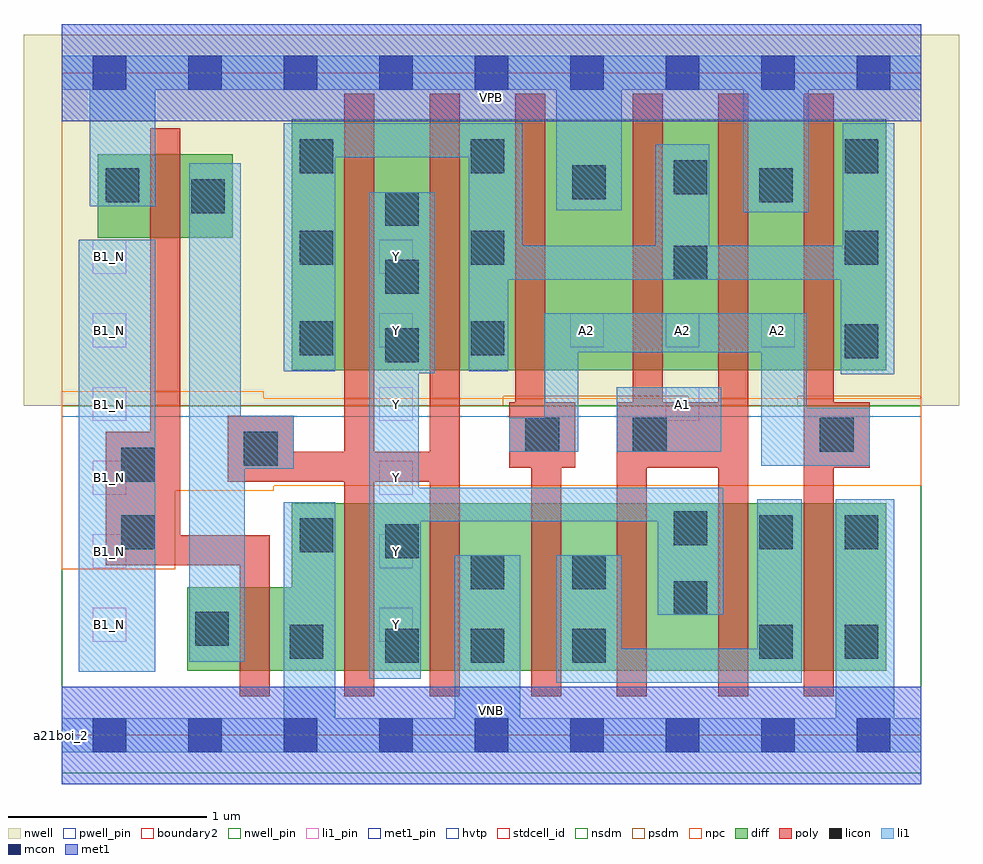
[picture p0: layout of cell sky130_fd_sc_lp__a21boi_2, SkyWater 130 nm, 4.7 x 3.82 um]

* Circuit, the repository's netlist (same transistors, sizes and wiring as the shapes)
* Copyright 2020 The SkyWater PDK Authors
*
* Licensed under the Apache License, Version 2.0 (the "License");
* you may not use this file except in compliance with the License.
* You may obtain a copy of the License at
*
*     https://www.apache.org/licenses/LICENSE-2.0
*
* Unless required by applicable law or agreed to in writing, software
* distributed under the License is distributed on an "AS IS" BASIS,
* WITHOUT WARRANTIES OR CONDITIONS OF ANY KIND, either express or implied.
* See the License for the specific language governing permissions and
* limitations under the License.
*
* SPDX-License-Identifier: Apache-2.0

.SUBCKT sky130_fd_sc_lp__a21boi_2 A1 A2 B1_N VGND VNB VPB VPWR Y
*.PININFO A1:I A2:I B1_N:I VGND:I VNB:I VPB:I VPWR:I Y:O
MMPA0 net28 A1 VPWR VPB sky130_fd_pr__pfet_01v8_hvt m=2 w=1.26U l=0.15U mult=1
+ sa=0.265 sb=0.265 sd=0.28 area=0.063 perim=1.14
MMPA1 net28 A2 VPWR VPB sky130_fd_pr__pfet_01v8_hvt m=2 w=1.26U l=0.15U mult=1
+ sa=0.265 sb=0.265 sd=0.28 area=0.063 perim=1.14
MMPB0 Y B1 net28 VPB sky130_fd_pr__pfet_01v8_hvt m=2 w=1.26U l=0.15U mult=1 sa=0.265
+ sb=0.265 sd=0.28 area=0.063 perim=1.14
MMIPB1N B1 B1_N VPWR VPB sky130_fd_pr__pfet_01v8_hvt m=1 w=0.42U l=0.15U mult=1
+ sa=0.265 sb=0.265 sd=0.28 area=0.063 perim=1.14
MMNA0 Y A1 sndA1 VNB sky130_fd_pr__nfet_01v8 m=2 w=0.84U l=0.15U mult=1 sa=0.265
+ sb=0.265 sd=0.28 area=0.063 perim=1.14
MMNA1 sndA1 A2 VGND VNB sky130_fd_pr__nfet_01v8 m=2 w=0.84U l=0.15U mult=1 sa=0.265
+ sb=0.265 sd=0.28 area=0.063 perim=1.14
MMNB0 Y B1 VGND VNB sky130_fd_pr__nfet_01v8 m=2 w=0.84U l=0.15U mult=1 sa=0.265
+ sb=0.265 sd=0.28 area=0.063 perim=1.14
MMINB1N B1 B1_N VGND VNB sky130_fd_pr__nfet_01v8 m=1 w=0.42U l=0.15U mult=1 sa=0.265
+ sb=0.265 sd=0.28 area=0.063 perim=1.14
.ENDS sky130_fd_sc_lp__a21boi_2

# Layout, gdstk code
import gdstk
lib = gdstk.Library(unit=1e-6, precision=1e-09)
def R(c, l, rs):  # rectangles x0, y0, x1, y1
    for r in rs: c.add(gdstk.rectangle(r[:2], r[2:], *l))
def A(c, l, x, y, w, h, nx, ny, dx, dy):  # array of equal rectangles
    R(c, l, [(x+i*dx, y+j*dy, x+i*dx+w, y+j*dy+h) for i in range(nx) for j in range(ny)])
def P(c, l, *ps):  # polygons
    for p in ps: c.add(gdstk.Polygon(p, *l))
nwell_pin = (64, 16)
nwell = (64, 20)
diff = (65, 20)
poly = (66, 20)
licon = (66, 44)
li1_pin = (67, 16)
li1 = (67, 20)
mcon = (67, 44)
met1_pin = (68, 16)
met1 = (68, 20)
hvtp = (78, 44)
stdcell_id = (81, 4)
nsdm = (93, 44)
psdm = (94, 20)
npc = (95, 20)
pwell_pin = (122, 16)
boundary2 = (236, 0)

sky130_fd_sc_lp__a21boi_ = lib.new_cell('sky130_fd_sc_lp__a21boi_2')
R(sky130_fd_sc_lp__a21boi_, nwell_pin, [(0,3.085,4.32,3.33)])
R(sky130_fd_sc_lp__a21boi_, nwell, [(-0.19,1.655,4.51,3.52)])
R(sky130_fd_sc_lp__a21boi_, diff, [(1.155,1.835,4.145,3.095), (0.18,2.5,0.86,2.92)])
P(sky130_fd_sc_lp__a21boi_, diff, [(4.145,1.165),(1.155,1.165),(1.155,0.745),(0.63,0.745),(0.63,0.325),(4.145,0.325)])
P(sky130_fd_sc_lp__a21boi_, poly, [(1.045,1.005),(0.595,1.005),(0.595,3.05),(0.445,3.05),(0.445,1.525),(0.22,1.525),(0.22,0.855),(0.895,0.855),(0.895,0.195),(1.045,0.195)],
  [(2,3.225),(1.85,3.225),(1.85,1.425),(1.57,1.425),(1.57,3.225),(1.42,3.225),(1.42,1.425),(1.165,1.425),(1.165,1.605),(0.835,1.605),(0.835,1.275),(1.42,1.275),(1.42,0.195),(1.57,0.195),(1.57,1.275),(1.85,1.275),(1.85,0.195),(2,0.195)],
  [(2.58,1.675),(2.43,1.675),(2.43,3.225),(2.28,3.225),(2.28,1.675),(2.25,1.675),(2.25,1.345),(2.36,1.345),(2.36,0.195),(2.51,0.195),(2.51,1.345),(2.58,1.345)],
  [(3.45,3.225),(3.3,3.225),(3.3,1.675),(3.02,1.675),(3.02,3.225),(2.87,3.225),(2.87,1.675),(2.79,1.675),(2.79,0.195),(2.94,0.195),(2.94,1.345),(3.3,1.345),(3.3,0.195),(3.45,0.195)],
  [(4.06,1.675),(3.88,1.675),(3.88,3.225),(3.73,3.225),(3.73,0.195),(3.88,0.195),(3.88,1.345),(4.06,1.345)])
R(sky130_fd_sc_lp__a21boi_, licon, [(1.625,0.365,1.795,0.535), (2.055,0.365,2.225,0.535), (2.565,0.365,2.735,0.535), (1.145,0.385,1.315,0.555), (3.505,0.385,3.675,0.555), (3.935,0.385,4.105,0.555), (0.67,0.45,0.84,0.62), (3.075,0.605,3.245,0.775), (2.055,0.735,2.225,0.905), (2.565,0.735,2.735,0.905), (1.625,0.89,1.795,1.06), (1.195,0.92,1.365,1.09), (0.3,0.935,0.47,1.105), (3.505,0.935,3.675,1.105), (3.935,0.935,4.105,1.105), (3.075,0.955,3.245,1.125), (0.3,1.275,0.47,1.445), (0.915,1.355,1.085,1.525), (2.33,1.425,2.5,1.595), (2.87,1.425,3.04,1.595), (3.81,1.425,3.98,1.595), (1.625,1.875,1.795,2.045), (3.935,1.895,4.105,2.065), (1.195,1.91,1.365,2.08), (2.055,1.91,2.225,2.08), (1.625,2.22,1.795,2.39), (3.075,2.29,3.245,2.46), (1.195,2.365,1.365,2.535), (2.055,2.365,2.225,2.535), (3.935,2.365,4.105,2.535), (1.625,2.56,1.795,2.73), (0.65,2.625,0.82,2.795), (0.22,2.68,0.39,2.85), (3.505,2.68,3.675,2.85), (2.565,2.695,2.735,2.865), (3.075,2.72,3.245,2.89), (1.195,2.825,1.365,2.995), (2.055,2.825,2.225,2.995), (3.935,2.825,4.105,2.995)])
A(sky130_fd_sc_lp__a21boi_, li1_pin, 0.155, 0.47, 0.17, 0.17, 1, 3, 0, 0.37)
A(sky130_fd_sc_lp__a21boi_, li1_pin, 1.595, 0.47, 0.17, 0.17, 1, 3, 0, 0.37)
A(sky130_fd_sc_lp__a21boi_, li1_pin, 0.155, 1.58, 0.17, 0.17, 3, 1, 1.44, 0)
A(sky130_fd_sc_lp__a21boi_, li1_pin, 2.555, 1.95, 0.17, 0.17, 3, 1, 0.48, 0)
R(sky130_fd_sc_lp__a21boi_, li1_pin, [(0.155,1.95,0.325,2.12), (1.595,1.95,1.765,2.12), (0.155,2.32,0.325,2.49), (1.595,2.32,1.765,2.49)])
R(sky130_fd_sc_lp__a21boi_, li1, [(0.085,0.32,0.47,2.49), (2.79,1.425,3.315,1.75)])
P(sky130_fd_sc_lp__a21boi_, li1, [(3.425,2.63),(3.425,3.245),(2.815,3.245),(2.815,2.64),(2.485,2.64),(2.485,3.245),(0.47,3.245),(0.47,2.66),(0.14,2.66),(0.14,3.245),(0,3.245),(0,3.415),(4.32,3.415),(4.32,3.245),(3.755,3.245),(3.755,2.63)],
  [(1.975,0.085),(1.975,0.905),(2.305,0.905),(2.305,0.085),(3.89,0.085),(3.89,1.185),(4.185,1.185),(4.185,0.085),(4.32,0.085),(4.32,-0.085),(0,-0.085),(0,0.085),(1.115,0.085),(1.115,1.17),(1.375,1.17),(1.375,0.085)],
  [(1.545,2.73),(1.875,2.73),(1.875,1.82),(1.795,1.82),(1.795,1.245),(3.325,1.245),(3.325,0.605),(2.995,0.605),(2.995,1.075),(1.805,1.075),(1.805,0.285),(1.545,0.285)],
  [(0.64,0.37),(0.64,2.875),(0.9,2.875),(0.9,1.605),(1.165,1.605),(1.165,1.34),(0.92,1.34),(0.92,0.37)],
  [(2.425,1.595),(2.425,2.12),(3.745,2.12),(3.745,1.645),(4.06,1.645),(4.06,1.355),(3.515,1.355),(3.515,1.925),(2.595,1.925),(2.595,1.425),(2.25,1.425),(2.25,1.595)],
  [(3.255,2.46),(3.925,2.46),(3.925,3.075),(4.185,3.075),(4.185,1.815),(3.915,1.815),(3.915,2.29),(2.245,2.29),(2.245,1.83),(2.045,1.83),(2.045,2.905),(1.375,2.905),(1.375,1.83),(1.115,1.83),(1.115,3.075),(2.315,3.075),(2.315,2.46),(2.985,2.46),(2.985,2.97),(3.255,2.97)],
  [(2.815,0.435),(3.495,0.435),(3.495,1.185),(3.72,1.185),(3.72,0.265),(2.485,0.265),(2.485,0.905),(2.815,0.905)])
A(sky130_fd_sc_lp__a21boi_, mcon, 0.155, -0.085, 0.17, 0.17, 9, 2, 0.48, 3.33)
R(sky130_fd_sc_lp__a21boi_, met1_pin, [(0,0,4.32,0.245), (0,3.085,4.32,3.33)])
R(sky130_fd_sc_lp__a21boi_, met1, [(0,-0.245,4.32,0.245), (0,3.085,4.32,3.575)])
R(sky130_fd_sc_lp__a21boi_, hvtp, [(0,1.6,4.32,3.33)])
R(sky130_fd_sc_lp__a21boi_, stdcell_id, [(0,0,4.32,3.33)])
R(sky130_fd_sc_lp__a21boi_, nsdm, [(0,-0.19,4.32,1.655)])
P(sky130_fd_sc_lp__a21boi_, psdm, [(4.32,3.52),(0,3.52),(0,1.655),(2.22,1.655),(2.22,1.705),(3.15,1.705),(3.15,1.655),(3.7,1.655),(3.7,1.705),(4.32,1.705)])
P(sky130_fd_sc_lp__a21boi_, npc, [(4.32,1.695),(1.015,1.695),(1.015,1.73),(0,1.73),(0,0.835),(0.57,0.835),(0.57,1.23),(1.065,1.23),(1.065,1.255),(4.32,1.255)])
R(sky130_fd_sc_lp__a21boi_, pwell_pin, [(0,0,4.32,0.245)])
R(sky130_fd_sc_lp__a21boi_, boundary2, [(0,0,4.32,3.33)])
sky130_fd_sc_lp__a21boi_.add(gdstk.Label('VNB', (2.16,0.123), layer=64, texttype=59))
sky130_fd_sc_lp__a21boi_.add(gdstk.Label('VPB', (2.16,3.208), layer=64, texttype=5))
sky130_fd_sc_lp__a21boi_.add(gdstk.Label('a21boi_2', (0,0), layer=83, texttype=44))
sky130_fd_sc_lp__a21boi_.add(gdstk.Label('VPWR', (2.16,3.208), layer=68, texttype=5))
sky130_fd_sc_lp__a21boi_.add(gdstk.Label('VGND', (2.16,0.123), layer=68, texttype=5))
sky130_fd_sc_lp__a21boi_.add(gdstk.Label('Y', (1.68,0.555), layer=67, texttype=5))
sky130_fd_sc_lp__a21boi_.add(gdstk.Label('Y', (1.68,0.925), layer=67, texttype=5))
sky130_fd_sc_lp__a21boi_.add(gdstk.Label('Y', (1.68,1.295), layer=67, texttype=5))
sky130_fd_sc_lp__a21boi_.add(gdstk.Label('Y', (1.68,1.665), layer=67, texttype=5))
sky130_fd_sc_lp__a21boi_.add(gdstk.Label('Y', (1.68,2.035), layer=67, texttype=5))
sky130_fd_sc_lp__a21boi_.add(gdstk.Label('Y', (1.68,2.405), layer=67, texttype=5))
sky130_fd_sc_lp__a21boi_.add(gdstk.Label('A1', (3.12,1.665), layer=67, texttype=5))
sky130_fd_sc_lp__a21boi_.add(gdstk.Label('A2', (2.64,2.035), layer=67, texttype=5))
sky130_fd_sc_lp__a21boi_.add(gdstk.Label('A2', (3.12,2.035), layer=67, texttype=5))
sky130_fd_sc_lp__a21boi_.add(gdstk.Label('A2', (3.6,2.035), layer=67, texttype=5))
sky130_fd_sc_lp__a21boi_.add(gdstk.Label('B1_N', (0.24,0.555), layer=67, texttype=5))
sky130_fd_sc_lp__a21boi_.add(gdstk.Label('B1_N', (0.24,0.925), layer=67, texttype=5))
sky130_fd_sc_lp__a21boi_.add(gdstk.Label('B1_N', (0.24,1.295), layer=67, texttype=5))
sky130_fd_sc_lp__a21boi_.add(gdstk.Label('B1_N', (0.24,1.665), layer=67, texttype=5))
sky130_fd_sc_lp__a21boi_.add(gdstk.Label('B1_N', (0.24,2.035), layer=67, texttype=5))
sky130_fd_sc_lp__a21boi_.add(gdstk.Label('B1_N', (0.24,2.405), layer=67, texttype=5))

lib.write_gds('sky130_fd_sc_lp__a21boi_2.gds')
